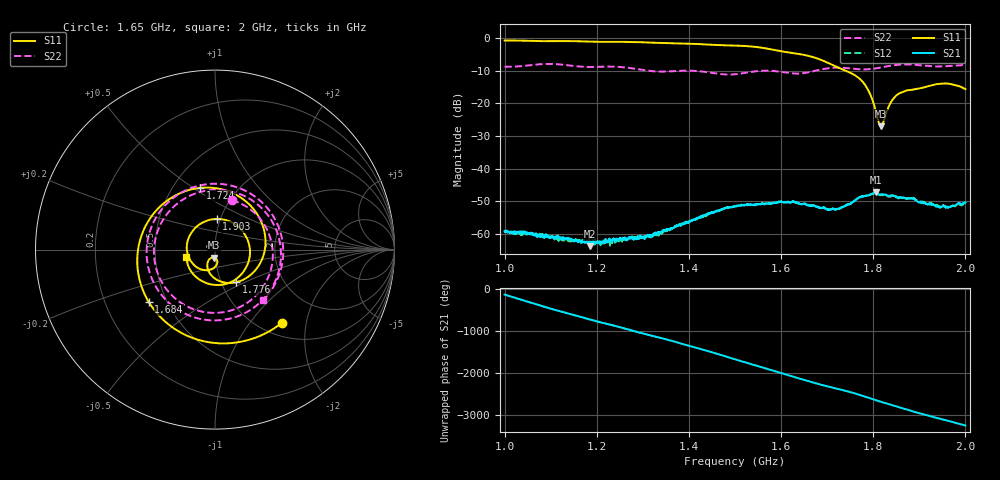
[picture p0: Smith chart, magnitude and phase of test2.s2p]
!Keysight Technologies N9923A: A.08.15
!Date: Wednesday, 14 February 2024 18:09:15
!Timezone: (GMT-05:00) Eastern Time (US & Canada)
!Model: N9923A
!Serial: MY52412730
!GPS Latitude:
!GPS Longitude:
!GPS TimeStamp: 0001-01-01 00:00:00Z
!GPS Seconds Since Last Read: 0
!CHECKSUM:0288382426
!Correction: S11(ON Q)S21(ON Q)S12(ON Q)S22(ON Q)
!S2P File: Measurements:S11,S21,S12,S22:
# Hz S DB R 50
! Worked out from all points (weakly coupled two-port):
!   1601 points, 1 GHz to 2 GHz, reference 50 ohm
!   highest |S21| = -47.20 dB at 1.806 GHz (marker M1); lowest = -63.7 dB at 1.185 GHz (marker M2)
!   lowest |S11| = -27.0 dB at 1.817 GHz (marker M3), VSWR 1.09, Z = 49.2 - j4.37 ohm
!   |S11| at or under -10 dB: 1.74 GHz to end of sweep
!   |S22| runs from -11.2 to -7.9 dB; largest |S21 - S12| = 0.00023
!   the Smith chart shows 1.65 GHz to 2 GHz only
!   S11 on the Smith chart (normalised r, x): 1.65 GHz: 1.24, -1.45; 1.684 GHz: 0.40, -0.30; 1.724 GHz: 0.68, +0.53; 1.776 GHz: 1.18, -0.45; 1.903 GHz: 0.96, +0.34; 2 GHz: 0.72, -0.06
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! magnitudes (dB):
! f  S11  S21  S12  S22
! 1 GHz  -0.7  -59.2  -59.0  -8.8
! 1.095 GHz  -1.0  -60.8  -60.7  -7.9
! 1.167 GHz  -1.0  -62.5  -61.8  -8.8
! 1.185 GHz  -1.1  -63.7  -62.3  -8.9
! 1.234 GHz  -1.2  -61.7  -62.5  -8.7
! 1.334 GHz  -1.5  -59.8  -60.2  -10.3
! 1.5 GHz  -2.3  -51.5  -51.4  -11.1
! 1.564 GHz  -3.1  -50.8  -50.7  -10.0
! 1.65 GHz  -5.2  -50.7  -50.7  -10.7
! 1.667 GHz  -5.7  -51.3  -51.3  -10.2
! 1.684 GHz  -6.5  -52.1  -52.1  -9.7
! 1.724 GHz  -9.0  -52.3  -52.3  -9.0
! 1.776 GHz  -13.3  -48.5  -48.4  -9.6
! 1.793 GHz  -17.1  -47.9  -48.0  -9.5
! 1.806 GHz  -22.7  -47.2  -47.4  -9.3
! 1.812 GHz  -26.1  -47.9  -48.0  -9.1
! 1.817 GHz  -27.0  -47.9  -48.0  -9.0
! 1.834 GHz  -20.9  -48.3  -48.6  -8.5
! 1.856 GHz  -16.9  -48.8  -49.0  -8.1
! 1.903 GHz  -15.3  -50.4  -50.1  -8.3
! 1.956 GHz  -13.9  -51.7  -51.5  -8.6
! 2 GHz  -15.6  -50.3  -50.6  -8.2
